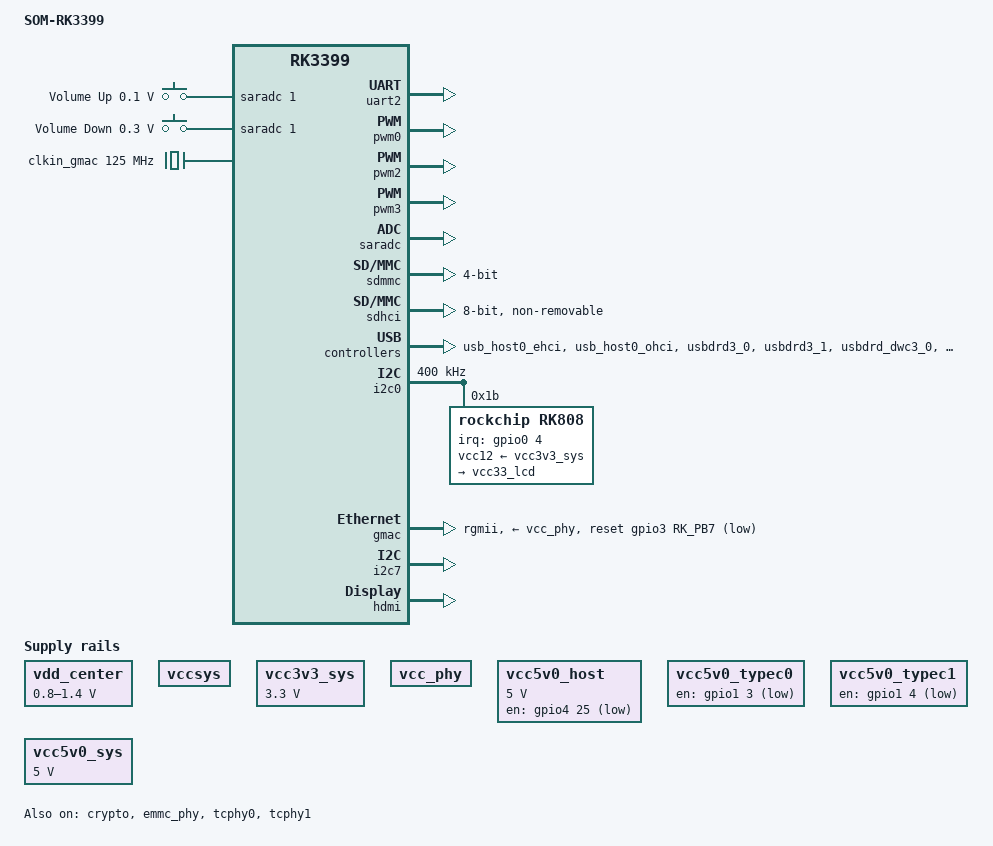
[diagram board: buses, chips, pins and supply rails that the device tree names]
/*
 * (C) Copyright 2016 Rockchip Electronics Co., Ltd
 *
 * SPDX-License-Identifier:     GPL-2.0+
 */

/dts-v1/;
#include <dt-bindings/pwm/pwm.h>
#include <dt-bindings/pinctrl/rockchip.h>
#include "rk3399.dtsi"
#include "rk3399-sdram-ddr3-1866.dtsi"
#include "rk3399-u-boot.dtsi"
#include <linux/media-bus-format.h>
#include <dt-bindings/input/input.h>

/ {
	model = "SOM-RK3399";
	compatible = "friendlyelec,som-rk3399", "rockchip,rk3399";

	adc-keys {
		status = "okay";
		compatible = "adc-keys";
		io-channels = <&saradc 1>;
		io-channel-names = "buttons";
		poll-interval = <100>;
		keyup-threshold-microvolt = <1800000>;

		button-up {
			label = "Volume Up";
			linux,code = <KEY_VOLUMEUP>;
			press-threshold-microvolt = <100000>;
		};

		button-down {
			label = "Volume Down";
			linux,code = <KEY_VOLUMEDOWN>;
			press-threshold-microvolt = <300000>;
		};
	};

	vdd_center: vdd-center {
		compatible = "pwm-regulator";
		pwms = <&pwm3 0 25000 1>;
		regulator-name = "vdd_center";
		regulator-min-microvolt = <800000>;
		regulator-max-microvolt = <1400000>;
		regulator-init-microvolt = <950000>;
		regulator-always-on;
		regulator-boot-on;
		status = "okay";
	};

	vccsys: vccsys {
		compatible = "regulator-fixed";
		regulator-name = "vccsys";
		regulator-boot-on;
		regulator-always-on;
	};

	vcc3v3_sys: vcc3v3-sys {
		compatible = "regulator-fixed";
		regulator-name = "vcc3v3_sys";
		regulator-always-on;
		regulator-boot-on;
		regulator-min-microvolt = <3300000>;
		regulator-max-microvolt = <3300000>;
	};

	vcc_phy: vcc-phy-regulator {
		compatible = "regulator-fixed";
		regulator-name = "vcc_phy";
		regulator-always-on;
		regulator-boot-on;
	};

	vcc5v0_host: vcc5v0-host-en {
		compatible = "regulator-fixed";
		regulator-name = "vcc5v0_host";
		gpio = <&gpio4 25 GPIO_ACTIVE_HIGH>;
		regulator-min-microvolt = <5000000>;
		regulator-max-microvolt = <5000000>;
		regulator-always-on;
		regulator-boot-on;
	};

	vcc5v0_typec0: vcc5v0-typec0-en {
		compatible = "regulator-fixed";
		regulator-name = "vcc5v0_typec0";
		gpio = <&gpio1 3 GPIO_ACTIVE_HIGH>;
	};

	vcc5v0_typec1: vcc5v0-typec1-en {
		compatible = "regulator-fixed";
		regulator-name = "vcc5v0_typec1";
		gpio = <&gpio1 4 GPIO_ACTIVE_HIGH>;
	};

	clkin_gmac: external-gmac-clock {
		compatible = "fixed-clock";
		clock-frequency = <125000000>;
		clock-output-names = "clkin_gmac";
		#clock-cells = <0>;
	};

	vcc5v0_sys: vcc5v0-sys {
		compatible = "regulator-fixed";
		regulator-name = "vcc5v0_sys";
		regulator-always-on;
		regulator-boot-on;
		regulator-min-microvolt = <5000000>;
		regulator-max-microvolt = <5000000>;
	};

};

&crypto {
	status = "okay";
};

&uart2 {
	status = "okay";
};

&emmc_phy {
	status = "okay";
};

&pwm0 {
	status = "okay";
};

&pwm2 {
	status = "okay";
};

&pwm3 {
	status = "okay";
};

&saradc {
	status = "okay";
};

&sdmmc {
	bus-width = <4>;
	status = "okay";
};

&sdhci {
	bus-width = <8>;
	mmc-hs400-1_8v;
	mmc-hs400-enhanced-strobe;
	non-removable;
	status = "okay";
};

&tcphy0 {
	status = "okay";
};

&tcphy1 {
	status = "okay";
};

&usb_host0_ehci {
	status = "okay";
};

&usb_host0_ohci {
	status = "okay";
};

&usbdrd3_0 {
	status = "okay";
};

&usbdrd3_1 {
	status = "okay";
};

&usbdrd_dwc3_0 {
	status = "okay";
};

&usbdrd_dwc3_1 {
	status = "okay";
};

&usb_host1_ehci {
	status = "okay";
};

&usb_host1_ohci {
	status = "okay";
};

&i2c0 {
	status = "okay";
	clock-frequency = <400000>;
	i2c-scl-falling-time-ns = <50>;
	i2c-scl-rising-time-ns = <100>;

	rk808: pmic@1b {
		status = "okay";
		compatible = "rockchip,rk808";
		clock-output-names = "xin32k", "wifibt_32kin";
		interrupt-parent = <&gpio0>;
		interrupts = <4 IRQ_TYPE_LEVEL_LOW>;
		pinctrl-names = "default";
		pinctrl-0 = <&pmic_int_l>;
		reg = <0x1b>;
		rockchip,system-power-controller;
		#clock-cells = <1>;

		vcc12-supply = <&vcc3v3_sys>;

		regulators {
			vcc33_lcd: SWITCH_REG2 {
				regulator-always-on;
				regulator-boot-on;
				regulator-name = "vcc33_lcd";
			};
		};
	};
};

&mipi_dsi {
	status = "disabled";
};

&gmac {
	status = "okay";
        phy-supply = <&vcc_phy>;
	phy-mode = "rgmii";
	clock_in_out = "input";
	snps,reset-gpio = <&gpio3 RK_PB7 GPIO_ACTIVE_LOW>;
	snps,reset-active-low;
	snps,reset-delays-us = <0 10000 50000>;
	assigned-clocks = <&cru SCLK_RMII_SRC>;
	assigned-clock-parents = <&clkin_gmac>;
	pinctrl-names = "default";
	pinctrl-0 = <&rgmii_pins>;
	tx_delay = <0x28>;
	rx_delay = <0x11>;
};


&i2c7 {
	status = "okay";
};
&hdmi {
	status = "okay";
	pinctrl-0 = <&i2c7_xfer>;
	ddc-i2c-bus = <&i2c7>;
	rockchip,defaultmode = <16>; /* CEA 1920x1080@60Hz */
};

&pinctrl {
	pmic {
		pmic_int_l: pmic-int-l {
			rockchip,pins =
				<1 21 RK_FUNC_GPIO &pcfg_pull_up>;
		};

		pmic_dvs2: pmic-dvs2 {
			rockchip,pins =
				<1 18 RK_FUNC_GPIO &pcfg_pull_down>;
		};
	};
};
